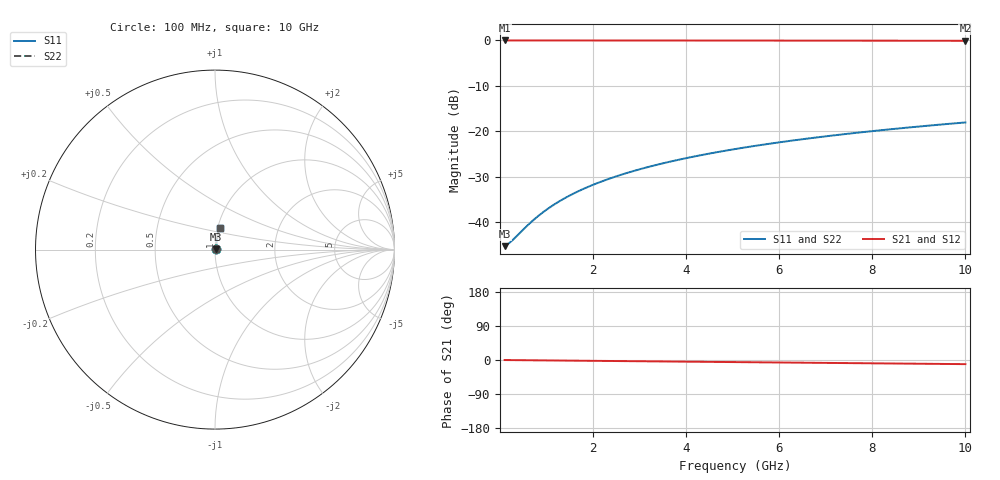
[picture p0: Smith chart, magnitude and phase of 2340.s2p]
# Hz S RI R 50.00
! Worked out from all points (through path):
!   100 points, 100 MHz to 10 GHz, reference 50 ohm
!   highest |S21| = -0.05 dB at 100 MHz (marker M1); lowest = -0.1 dB at 10 GHz (marker M2)
!   group delay of S21, straight-line fit = 3.03 ps
!   lowest |S11| = -45.3 dB at 100 MHz (marker M3), VSWR 1.01, Z = 50.5 + j0.126 ohm
!   |S11| at or under -10 dB: start of sweep to end of sweep
!   |S22| runs from -45.3 to -18.1 dB; largest |S21 - S12| = 0
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1e8  0.00529 0.00125  0.9947 -0.0019  0.9947 -0.0019  0.00529 0.00125
2e8  0.00534 0.00249  0.9947 -0.0038  0.9947 -0.0038  0.00534 0.00249
3e8  0.00537 0.00374  0.9946 -0.0057  0.9946 -0.0057  0.00537 0.00374
5e8  0.00545 0.00623  0.9945 -0.0095  0.9945 -0.0095  0.00545 0.00623
7e8  0.00554 0.00872  0.9944 -0.0133  0.9944 -0.0133  0.00554 0.00872
8e8  0.00558 0.00997  0.9944 -0.0152  0.9944 -0.0152  0.00558 0.00997
1e9  0.00569 0.0125  0.9943 -0.019  0.9943 -0.019  0.00569 0.0125
1.2e9  0.00582 0.0149  0.9941 -0.0228  0.9941 -0.0228  0.00582 0.0149
1.4e9  0.00596 0.0174  0.994 -0.0266  0.994 -0.0266  0.00596 0.0174
1.6e9  0.00612 0.0199  0.9938 -0.0304  0.9938 -0.0304  0.00612 0.0199
1.8e9  0.00629 0.0224  0.9936 -0.0342  0.9936 -0.0342  0.00629 0.0224
2.1e9  0.00659 0.0261  0.9933 -0.0399  0.9933 -0.0399  0.00659 0.0261
2.5e9  0.00706 0.0311  0.9928 -0.0474  0.9928 -0.0474  0.00706 0.0311
2.9e9  0.00759 0.0361  0.9922 -0.055  0.9922 -0.055  0.00759 0.0361
3.4e9  0.00837 0.0422  0.9914 -0.0644  0.9914 -0.0644  0.00837 0.0422
4.2e9  0.00985 0.0521  0.9897 -0.0795  0.9897 -0.0795  0.00985 0.0521
5.1e9  0.0119 0.0631  0.9875 -0.0964  0.9875 -0.0964  0.0119 0.0631
5.9e9  0.014 0.0728  0.9852 -0.1114  0.9852 -0.1114  0.014 0.0728
6.7e9  0.0164 0.0825  0.9826 -0.1263  0.9826 -0.1263  0.0164 0.0825
7.5e9  0.0191 0.092  0.9797 -0.1411  0.9797 -0.1411  0.0191 0.092
8.4e9  0.0224 0.1027  0.976 -0.1577  0.976 -0.1577  0.0224 0.1027
1e10  0.0293 0.1213  0.9685 -0.1868  0.9685 -0.1868  0.0293 0.1213
